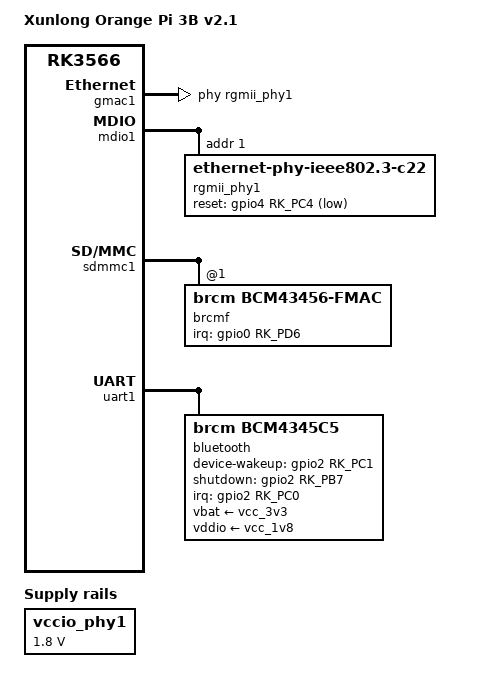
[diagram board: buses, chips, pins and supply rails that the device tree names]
// SPDX-License-Identifier: (GPL-2.0+ OR MIT)

/dts-v1/;

#include "rk3566-orangepi-3b.dtsi"

/ {
	model = "Xunlong Orange Pi 3B v2.1";
	compatible = "xunlong,orangepi-3b-v2.1", "xunlong,orangepi-3b", "rockchip,rk3566";

	vccio_phy1: regulator-1v8-vccio-phy {
		compatible = "regulator-fixed";
		regulator-name = "vccio_phy1";
		regulator-always-on;
		regulator-boot-on;
		regulator-max-microvolt = <1800000>;
		regulator-min-microvolt = <1800000>;
	};
};

&pmu_io_domains {
	vccio5-supply = <&vccio_phy1>;
};

&gmac1 {
	phy-handle = <&rgmii_phy1>;
	status = "okay";
};

&mdio1 {
	rgmii_phy1: ethernet-phy@1 {
		compatible = "ethernet-phy-ieee802.3-c22";
		reg = <1>;
		reset-assert-us = <20000>;
		reset-deassert-us = <50000>;
		reset-gpios = <&gpio4 RK_PC4 GPIO_ACTIVE_LOW>;
	};
};

&sdmmc1 {
	#address-cells = <1>;
	#size-cells = <0>;

	brcmf: wifi@1 {
		compatible = "brcm,bcm43456-fmac", "brcm,bcm4329-fmac";
		reg = <1>;
		interrupt-parent = <&gpio0>;
		interrupts = <RK_PD6 IRQ_TYPE_LEVEL_HIGH>;
		interrupt-names = "host-wake";
		pinctrl-names = "default";
		pinctrl-0 = <&wifi_wake_host_h>;
	};
};

&uart1 {
	bluetooth {
		compatible = "brcm,bcm4345c5";
		clocks = <&rk809 1>;
		clock-names = "lpo";
		interrupt-parent = <&gpio2>;
		interrupts = <RK_PC0 IRQ_TYPE_LEVEL_HIGH>;
		interrupt-names = "host-wakeup";
		device-wakeup-gpios = <&gpio2 RK_PC1 GPIO_ACTIVE_HIGH>;
		shutdown-gpios = <&gpio2 RK_PB7 GPIO_ACTIVE_HIGH>;
		pinctrl-names = "default";
		pinctrl-0 = <&bt_reg_on_h &bt_wake_host_h &host_wake_bt_h>;
		vbat-supply = <&vcc_3v3>;
		vddio-supply = <&vcc_1v8>;
	};
};
